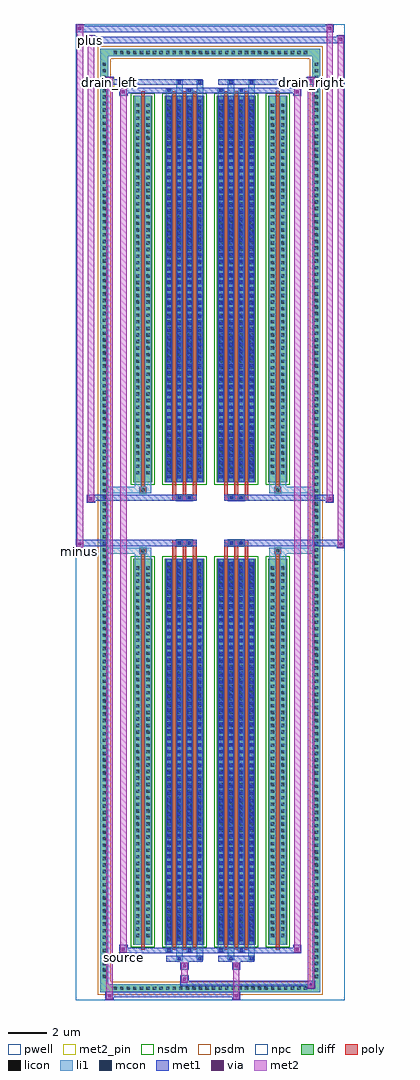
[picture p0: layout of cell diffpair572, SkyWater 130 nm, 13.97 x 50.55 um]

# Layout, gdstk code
import gdstk
lib = gdstk.Library(unit=1e-6, precision=5e-09)
def R(c, l, rs):  # rectangles x0, y0, x1, y1
    for r in rs: c.add(gdstk.rectangle(r[:2], r[2:], *l))
def A(c, l, x, y, w, h, nx, ny, dx, dy):  # array of equal rectangles
    R(c, l, [(x+i*dx, y+j*dy, x+i*dx+w, y+j*dy+h) for i in range(nx) for j in range(ny)])
def P(c, l, *ps):  # polygons
    for p in ps: c.add(gdstk.Polygon(p, *l))
pwell = (64, 44)
diff = (65, 20)
poly = (66, 20)
licon = (66, 44)
li1 = (67, 20)
mcon = (67, 44)
met1 = (68, 20)
via = (68, 44)
met2_pin = (69, 16)
met2 = (69, 20)
nsdm = (93, 44)
psdm = (94, 20)
npc = (95, 20)

diffpair572 = lib.new_cell('diffpair572')
R(diffpair572, pwell, [(-6.97,-24.84,6.97,25.71), (-4.29,-23.03,-0.01,-0.805), (0.01,-23.03,4.29,-0.805), (-4.29,0.805,-0.01,23.03), (0.01,0.805,4.29,23.03)])
A(diffpair572, diff, -5.135, -24.44, 0.41, 0.41, 30, 2, 0.34, 48.47)
A(diffpair572, diff, -5.7, -23.835, 0.41, 0.41, 1, 140, 0, 0.34)
A(diffpair572, diff, 5.29, -23.835, 0.41, 0.41, 1, 140, 0, 0.34)
R(diffpair572, diff, [(-5.135,-24.44,5.135,-24.03), (-5.7,-23.835,-5.29,23.835), (5.29,-23.835,5.7,23.835), (-3.98,-21.985,-3,-1.985), (-2.36,-21.985,-0.32,-1.985), (0.32,-21.985,2.36,-1.985), (3,-21.985,3.98,-1.985), (-3.98,1.985,-3,21.985), (-2.36,1.985,-0.32,21.985), (0.32,1.985,2.36,21.985), (3,1.985,3.98,21.985), (-5.135,24.03,5.135,24.44)])
P(diffpair572, diff, [(5.7,24.44),(-5.7,24.44),(-5.7,-24.03),(-5.29,-24.03),(-5.29,24.03),(5.29,24.03),(5.29,-24.03),(-5.29,-24.03),(-5.7,-24.03),(-5.7,-24.44),(5.7,-24.44)])
A(diffpair572, poly, -1.97, -22.235, 0.2, 20.5, 3, 2, 0.53, 23.97)
A(diffpair572, poly, 0.71, -22.235, 0.2, 20.5, 3, 2, 0.53, 23.97)
A(diffpair572, poly, -1.97, -1.735, 0.2, 0.4, 3, 2, 0.53, 3.07)
A(diffpair572, poly, 0.71, -1.735, 0.2, 0.4, 3, 2, 0.53, 3.07)
R(diffpair572, poly, [(-3.59,-22.235,-3.39,-1.735), (3.39,-22.235,3.59,-1.735), (-3.655,-1.735,-3.325,-1.405), (-3.655,-1.735,-3.325,-1.405), (3.325,-1.735,3.655,-1.405), (3.325,-1.735,3.655,-1.405), (-1.97,-1.335,-0.71,-1.005), (-1.755,-1.335,-1.425,-1.005), (-1.255,-1.335,-0.925,-1.005), (0.71,-1.335,1.97,-1.005), (0.925,-1.335,1.255,-1.005), (1.425,-1.335,1.755,-1.005), (-1.97,1.005,-0.71,1.335), (-1.755,1.005,-1.425,1.335), (-1.255,1.005,-0.925,1.335), (0.71,1.005,1.97,1.335), (0.925,1.005,1.255,1.335), (1.425,1.005,1.755,1.335), (-3.655,1.405,-3.325,1.735), (-3.655,1.405,-3.325,1.735), (3.325,1.405,3.655,1.735), (3.325,1.405,3.655,1.735), (-3.59,1.735,-3.39,22.235), (3.39,1.735,3.59,22.235)])
A(diffpair572, licon, -5.015, -24.32, 0.17, 0.17, 30, 2, 0.34, 48.47)
A(diffpair572, licon, -5.58, -23.715, 0.17, 0.17, 1, 140, 0, 0.34)
A(diffpair572, licon, 5.41, -23.715, 0.17, 0.17, 1, 140, 0, 0.34)
A(diffpair572, licon, -3.84, -21.59, 0.17, 0.17, 1, 57, 0, 0.34)
A(diffpair572, licon, -3.31, -21.59, 0.17, 0.17, 1, 57, 0, 0.34)
A(diffpair572, licon, -2.22, -21.59, 0.17, 0.17, 4, 57, 0.53, 0.34)
A(diffpair572, licon, 0.46, -21.59, 0.17, 0.17, 4, 57, 0.53, 0.34)
A(diffpair572, licon, 3.14, -21.59, 0.17, 0.17, 1, 57, 0, 0.34)
A(diffpair572, licon, 3.67, -21.59, 0.17, 0.17, 1, 57, 0, 0.34)
A(diffpair572, licon, -3.84, 2.38, 0.17, 0.17, 1, 57, 0, 0.34)
A(diffpair572, licon, -3.31, 2.38, 0.17, 0.17, 1, 57, 0, 0.34)
A(diffpair572, licon, -2.22, 2.38, 0.17, 0.17, 4, 57, 0.53, 0.34)
A(diffpair572, licon, 0.46, 2.38, 0.17, 0.17, 4, 57, 0.53, 0.34)
A(diffpair572, licon, 3.14, 2.38, 0.17, 0.17, 1, 57, 0, 0.34)
A(diffpair572, licon, 3.67, 2.38, 0.17, 0.17, 1, 57, 0, 0.34)
R(diffpair572, licon, [(-3.575,-1.655,-3.405,-1.485), (3.405,-1.655,3.575,-1.485), (-1.675,-1.255,-1.505,-1.085), (-1.175,-1.255,-1.005,-1.085), (1.005,-1.255,1.175,-1.085), (1.505,-1.255,1.675,-1.085), (-1.675,1.085,-1.505,1.255), (-1.175,1.085,-1.005,1.255), (1.005,1.085,1.175,1.255), (1.505,1.085,1.675,1.255), (-3.575,1.485,-3.405,1.655), (3.405,1.485,3.575,1.655)])
A(diffpair572, li1, -5.095, -24.4, 0.33, 0.33, 30, 2, 0.34, 48.47)
A(diffpair572, li1, -5.66, -23.795, 0.33, 0.33, 1, 140, 0, 0.34)
A(diffpair572, li1, 5.33, -23.795, 0.33, 0.33, 1, 140, 0, 0.34)
A(diffpair572, li1, -2.3, -21.985, 0.33, 20, 4, 2, 0.53, 23.97)
A(diffpair572, li1, 0.38, -21.985, 0.33, 20, 4, 2, 0.53, 23.97)
A(diffpair572, li1, -2.22, -21.79, 0.17, 0.17, 4, 55, 0.53, 0.36)
A(diffpair572, li1, -2.22, -21.79, 0.17, 19.61, 4, 2, 0.53, 23.97)
A(diffpair572, li1, 0.46, -21.79, 0.17, 0.17, 4, 55, 0.53, 0.36)
A(diffpair572, li1, 0.46, -21.79, 0.17, 19.61, 4, 2, 0.53, 23.97)
A(diffpair572, li1, -3.92, -21.67, 0.33, 0.33, 1, 57, 0, 0.34)
A(diffpair572, li1, -3.39, -21.67, 0.33, 0.33, 1, 57, 0, 0.34)
A(diffpair572, li1, -2.3, -21.67, 0.33, 0.33, 4, 57, 0.53, 0.34)
A(diffpair572, li1, 0.38, -21.67, 0.33, 0.33, 4, 57, 0.53, 0.34)
A(diffpair572, li1, 3.06, -21.67, 0.33, 0.33, 1, 57, 0, 0.34)
A(diffpair572, li1, 3.59, -21.67, 0.33, 0.33, 1, 57, 0, 0.34)
A(diffpair572, li1, -2.22, 2.18, 0.17, 0.17, 4, 55, 0.53, 0.36)
A(diffpair572, li1, 0.46, 2.18, 0.17, 0.17, 4, 55, 0.53, 0.36)
A(diffpair572, li1, -3.92, 2.3, 0.33, 0.33, 1, 57, 0, 0.34)
A(diffpair572, li1, -3.39, 2.3, 0.33, 0.33, 1, 57, 0, 0.34)
A(diffpair572, li1, -2.3, 2.3, 0.33, 0.33, 4, 57, 0.53, 0.34)
A(diffpair572, li1, 0.38, 2.3, 0.33, 0.33, 4, 57, 0.53, 0.34)
A(diffpair572, li1, 3.06, 2.3, 0.33, 0.33, 1, 57, 0, 0.34)
A(diffpair572, li1, 3.59, 2.3, 0.33, 0.33, 1, 57, 0, 0.34)
R(diffpair572, li1, [(-5.7,-24.44,-5.29,-24.03), (-5.7,-24.44,-5.29,-24.03), (-5.29,-24.44,5.29,-24.03), (5.29,-24.44,5.7,-24.03), (5.29,-24.44,5.7,-24.03), (-5.7,-24.03,-5.29,24.03), (5.29,-24.03,5.7,24.03), (-1.77,-22.79,-1.44,-21.985), (-1.69,-22.79,-1.52,-22.62), (-0.71,-22.79,-0.38,-21.985), (-0.63,-22.79,-0.46,-22.62), (0.91,-22.79,1.24,-21.985), (0.99,-22.79,1.16,-22.62), (1.97,-22.79,2.3,-21.985), (2.05,-22.79,2.22,-22.62), (-2.3,-22.36,-1.97,-21.985), (-2.22,-22.36,-2.05,-22.19), (-1.24,-22.36,-0.91,-21.985), (-1.16,-22.36,-0.99,-22.19), (0.38,-22.36,0.71,-21.985), (0.46,-22.36,0.63,-22.19), (1.44,-22.36,1.77,-21.985), (1.52,-22.36,1.69,-22.19), (-3.92,-21.985,-3.59,-1.985), (-3.39,-21.985,-3.06,-1.985), (3.06,-21.985,3.39,-1.985), (3.59,-21.985,3.92,-1.985), (-3.92,-1.985,-3.59,-1.405), (-3.39,-1.985,-3.06,-1.405), (3.06,-1.985,3.39,-1.405), (3.59,-1.985,3.92,-1.405), (-5.7,-1.735,-3.655,-1.405), (-3.92,-1.735,-3.655,-1.405), (-3.655,-1.735,-3.325,-1.405), (-3.325,-1.735,-3.06,-1.405), (3.06,-1.735,3.325,-1.405), (3.325,-1.735,3.655,-1.405), (3.325,-1.735,5.7,-1.405), (3.655,-1.735,3.92,-1.405), (-1.755,-1.335,-1.425,-1.005), (-1.255,-1.335,-0.925,-1.005), (0.925,-1.335,1.255,-1.005), (1.425,-1.335,1.755,-1.005), (-1.755,1.005,-1.425,1.335), (-1.255,1.005,-0.925,1.335), (0.925,1.005,1.255,1.335), (1.425,1.005,1.755,1.335), (-5.7,1.405,-3.655,1.735), (-3.92,1.405,-3.655,1.735), (-3.92,1.405,-3.59,1.985), (-3.655,1.405,-3.325,1.735), (-3.39,1.405,-3.06,1.985), (-3.325,1.405,-3.06,1.735), (3.06,1.405,3.325,1.735), (3.06,1.405,3.39,1.985), (3.325,1.405,3.655,1.735), (3.325,1.405,5.7,1.735), (3.59,1.405,3.92,1.985), (3.655,1.405,3.92,1.735), (-3.92,1.985,-3.59,21.985), (-3.39,1.985,-3.06,21.985), (3.06,1.985,3.39,21.985), (3.59,1.985,3.92,21.985), (-2.3,21.985,-1.97,22.36), (-1.77,21.985,-1.44,22.79), (-1.24,21.985,-0.91,22.36), (-0.71,21.985,-0.38,22.79), (0.38,21.985,0.71,22.36), (0.91,21.985,1.24,22.79), (1.44,21.985,1.77,22.36), (1.97,21.985,2.3,22.79), (-2.22,22.19,-2.05,22.36), (-1.16,22.19,-0.99,22.36), (0.46,22.19,0.63,22.36), (1.52,22.19,1.69,22.36), (-1.69,22.62,-1.52,22.79), (-0.63,22.62,-0.46,22.79), (0.99,22.62,1.16,22.79), (2.05,22.62,2.22,22.79), (-5.7,24.03,-5.29,24.44), (-5.7,24.03,-5.29,24.44), (-5.29,24.03,5.29,24.44), (5.29,24.03,5.7,24.44), (5.29,24.03,5.7,24.44)])
A(diffpair572, mcon, -2.22, -21.79, 0.17, 0.17, 4, 55, 0.53, 0.36)
A(diffpair572, mcon, 0.46, -21.79, 0.17, 0.17, 4, 55, 0.53, 0.36)
A(diffpair572, mcon, -2.22, 2.18, 0.17, 0.17, 4, 55, 0.53, 0.36)
A(diffpair572, mcon, 0.46, 2.18, 0.17, 0.17, 4, 55, 0.53, 0.36)
R(diffpair572, mcon, [(-1.69,-22.79,-1.52,-22.62), (-0.63,-22.79,-0.46,-22.62), (0.99,-22.79,1.16,-22.62), (2.05,-22.79,2.22,-22.62), (-2.22,-22.36,-2.05,-22.19), (-1.16,-22.36,-0.99,-22.19), (0.46,-22.36,0.63,-22.19), (1.52,-22.36,1.69,-22.19), (-1.675,-1.255,-1.505,-1.085), (-1.175,-1.255,-1.005,-1.085), (1.005,-1.255,1.175,-1.085), (1.505,-1.255,1.675,-1.085), (-1.675,1.085,-1.505,1.255), (-1.175,1.085,-1.005,1.255), (1.005,1.085,1.175,1.255), (1.505,1.085,1.675,1.255), (-2.22,22.19,-2.05,22.36), (-1.16,22.19,-0.99,22.36), (0.46,22.19,0.63,22.36), (1.52,22.19,1.69,22.36), (-1.69,22.62,-1.52,22.79), (-0.63,22.62,-0.46,22.79), (0.99,22.62,1.16,22.79), (2.05,22.62,2.22,22.79)])
A(diffpair572, met1, -2.28, -21.985, 0.29, 20, 4, 2, 0.53, 23.97)
A(diffpair572, met1, 0.4, -21.985, 0.29, 20, 4, 2, 0.53, 23.97)
A(diffpair572, met1, -2.28, -21.85, 0.29, 0.29, 4, 55, 0.53, 0.36)
A(diffpair572, met1, 0.4, -21.85, 0.29, 0.29, 4, 55, 0.53, 0.36)
A(diffpair572, met1, -2.28, 2.12, 0.29, 0.29, 4, 55, 0.53, 0.36)
A(diffpair572, met1, 0.4, 2.12, 0.29, 0.29, 4, 55, 0.53, 0.36)
R(diffpair572, met1, [(-5.43,-24.84,-5,-24.41), (1.125,-24.84,1.555,-24.41), (-5.43,-24.7,1.555,-24.41), (5,-24.27,5.43,-23.84), (-1.555,-24.13,5.43,-23.84), (-1.555,-23.99,-1.125,-23.56), (-1.555,-23.28,-1.125,-22.85), (1.125,-23.28,1.555,-22.85), (-2.28,-22.85,-0.4,-22.56), (-1.75,-22.85,-1.46,-22.56), (-0.69,-22.85,-0.4,-22.56), (0.4,-22.85,2.28,-22.56), (0.93,-22.85,1.22,-22.56), (1.99,-22.85,2.28,-22.56), (-4.72,-22.42,-4.29,-21.99), (-4.72,-22.42,-2.28,-22.13), (-2.28,-22.42,-1.99,-22.13), (-2.28,-22.42,-0.4,-22.13), (-1.22,-22.42,-0.93,-22.13), (-0.4,-22.42,0.4,-22.13), (0.4,-22.42,0.69,-22.13), (0.4,-22.42,2.28,-22.13), (1.46,-22.42,1.75,-22.13), (2.28,-22.42,4.72,-22.13), (4.29,-22.42,4.72,-21.99), (-6.97,-1.435,-6.54,-1.005), (6.54,-1.435,6.97,-1.005), (-6.97,-1.335,-0.71,-1.005), (-1.97,-1.335,-0.71,-1.005), (0.71,-1.335,1.97,-1.005), (0.71,-1.335,6.97,-1.005), (-1.735,-1.315,-1.445,-1.025), (-1.235,-1.315,-0.945,-1.025), (0.945,-1.315,1.235,-1.025), (1.445,-1.315,1.735,-1.025), (-6.4,0.905,-5.97,1.335), (5.97,0.905,6.4,1.335), (-6.4,1.005,-1.97,1.335), (-1.97,1.005,-0.71,1.335), (0.71,1.005,1.97,1.335), (1.97,1.005,6.4,1.335), (-1.735,1.025,-1.445,1.315), (-1.235,1.025,-0.945,1.315), (0.945,1.025,1.235,1.315), (1.445,1.025,1.735,1.315), (-4.72,21.99,-4.29,22.42), (4.29,21.99,4.72,22.42), (-4.72,22.13,-2.28,22.42), (-2.28,22.13,-1.99,22.42), (-2.28,22.13,-0.4,22.42), (-1.22,22.13,-0.93,22.42), (-0.4,22.13,0.4,22.42), (0.4,22.13,0.69,22.42), (0.4,22.13,2.28,22.42), (1.46,22.13,1.75,22.42), (2.28,22.13,4.72,22.42), (-5.43,22.56,-5,22.99), (-5.43,22.56,-2.28,22.85), (-2.28,22.56,-0.4,22.85), (-1.75,22.56,-1.46,22.85), (-0.69,22.56,-0.4,22.85), (0.4,22.56,2.28,22.85), (0.93,22.56,1.22,22.85), (1.99,22.56,2.28,22.85), (2.28,22.56,5.43,22.85), (5,22.56,5.43,22.99), (-6.4,24.71,-5.97,25.14), (-6.4,24.71,-4.29,25.04), (-4.29,24.71,4.29,25.04), (4.29,24.71,6.97,25.04), (6.54,24.71,6.97,25.14), (-6.97,25.28,-6.54,25.71), (-6.97,25.28,-4.29,25.61), (-4.29,25.28,4.29,25.61), (4.29,25.28,6.4,25.61), (5.97,25.28,6.4,25.71)])
R(diffpair572, via, [(-5.29,-24.7,-5.14,-24.55), (1.265,-24.7,1.415,-24.55), (5.14,-24.13,5.29,-23.98), (-1.415,-23.85,-1.265,-23.7), (-1.415,-23.14,-1.265,-22.99), (1.265,-23.14,1.415,-22.99), (-4.58,-22.28,-4.43,-22.13), (4.43,-22.28,4.58,-22.13), (-6.83,-1.295,-6.68,-1.145), (6.68,-1.295,6.83,-1.145), (-6.26,1.045,-6.11,1.195), (6.11,1.045,6.26,1.195), (-4.58,22.13,-4.43,22.28), (4.43,22.13,4.58,22.28), (-5.29,22.7,-5.14,22.85), (5.14,22.7,5.29,22.85), (-6.26,24.85,-6.11,25), (6.68,24.85,6.83,25), (-6.83,25.42,-6.68,25.57), (6.11,25.42,6.26,25.57)])
R(diffpair572, met2_pin, [(-4.755,-22.87,-4.255,-22.37), (-7.005,-1.885,-6.505,-1.385), (-5.465,22.44,-4.965,22.94), (4.965,22.44,5.465,22.94), (-6.435,24.59,-5.935,25.09)])
R(diffpair572, met2, [(-5.38,-24.79,-5.05,-24.46), (-5.38,-24.79,-5.05,22.94), (1.175,-24.79,1.505,-24.46), (1.175,-24.46,1.505,-23.23), (5.05,-24.22,5.38,-23.89), (5.05,-24.22,5.38,22.94), (-1.505,-23.94,-1.175,-23.61), (-1.505,-23.61,-1.175,-23.23), (-1.505,-23.23,-1.175,-22.9), (1.175,-23.23,1.505,-22.9), (-4.67,-22.37,-4.34,-22.04), (-4.67,-22.37,-4.34,22.37), (4.34,-22.37,4.67,-22.04), (4.34,-22.37,4.67,22.37), (-6.92,-1.385,-6.59,-1.055), (-6.92,-1.385,-6.59,25.66), (6.59,-1.385,6.92,-1.055), (6.59,-1.385,6.92,25.09), (-6.35,0.955,-6.02,1.285), (-6.35,0.955,-6.02,25.09), (6.02,0.955,6.35,1.285), (6.02,0.955,6.35,25.66), (-4.67,22.04,-4.34,22.37), (4.34,22.04,4.67,22.37), (-5.38,22.61,-5.05,22.94), (5.05,22.61,5.38,22.94), (-6.35,24.76,-6.02,25.09), (6.59,24.76,6.92,25.09), (-6.92,25.33,-6.59,25.66), (6.02,25.33,6.35,25.66)])
P(diffpair572, met2, [(6.92,-1.385),(6.92,-1.385),(6.92,-1.055),(6.92,-1.055)],
  [(6.92,24.76),(6.92,24.76),(6.92,25.09),(6.92,25.09)],
  [(-6.59,-1.385),(-6.59,-1.385),(-6.59,-1.055),(-6.59,-1.055)],
  [(-6.59,25.33),(-6.59,25.33),(-6.59,25.66),(-6.59,25.66)],
  [(6.35,0.955),(6.35,0.955),(6.35,1.285),(6.35,1.285)],
  [(6.35,25.33),(6.35,25.33),(6.35,25.66),(6.35,25.66)],
  [(-6.02,0.955),(-6.02,0.955),(-6.02,1.285),(-6.02,1.285)],
  [(-6.02,24.76),(-6.02,24.76),(-6.02,25.09),(-6.02,25.09)],
  [(-5.05,-24.79),(-5.05,-24.79),(-5.05,-24.46),(-5.05,-24.46)],
  [(-5.05,22.61),(-5.05,22.61),(-5.05,22.94),(-5.05,22.94)],
  [(5.38,-24.22),(5.38,-24.22),(5.38,-23.89),(5.38,-23.89)],
  [(5.38,22.61),(5.38,22.61),(5.38,22.94),(5.38,22.94)],
  [(-4.34,-22.37),(-4.34,-22.37),(-4.34,-22.04),(-4.34,-22.04)],
  [(-4.34,22.04),(-4.34,22.04),(-4.34,22.37),(-4.34,22.37)],
  [(4.67,-22.37),(4.67,-22.37),(4.67,-22.04),(4.67,-22.04)],
  [(4.67,22.04),(4.67,22.04),(4.67,22.37),(4.67,22.37)])
R(diffpair572, nsdm, [(-4.11,-22.115,-2.87,-1.855), (-2.49,-22.115,-0.19,-1.855), (0.19,-22.115,2.49,-1.855), (2.87,-22.115,4.11,-1.855), (-4.11,1.855,-2.87,22.115), (-2.49,1.855,-0.19,22.115), (0.19,1.855,2.49,22.115), (2.87,1.855,4.11,22.115)])
P(diffpair572, psdm, [(5.83,24.57),(-5.83,24.57),(-5.83,-23.9),(-5.16,-23.9),(-5.16,23.9),(5.16,23.9),(5.16,-23.9),(-5.16,-23.9),(-5.83,-23.9),(-5.83,-24.57),(5.83,-24.57)])
R(diffpair572, npc, [(-3.675,-1.755,-3.305,-1.385), (3.305,-1.755,3.675,-1.385), (-1.775,-1.355,-1.405,-0.985), (-1.775,-1.355,-0.905,-0.985), (-1.775,-1.355,-0.905,-0.985), (-1.275,-1.355,-0.905,-0.985), (0.905,-1.355,1.275,-0.985), (0.905,-1.355,1.775,-0.985), (0.905,-1.355,1.775,-0.985), (1.405,-1.355,1.775,-0.985), (-1.775,0.985,-1.405,1.355), (-1.775,0.985,-0.905,1.355), (-1.775,0.985,-0.905,1.355), (-1.275,0.985,-0.905,1.355), (0.905,0.985,1.275,1.355), (0.905,0.985,1.775,1.355), (0.905,0.985,1.775,1.355), (1.405,0.985,1.775,1.355), (-3.675,1.385,-3.305,1.755), (3.305,1.385,3.675,1.755)])
diffpair572.add(gdstk.Label('minus', (-6.755,-1.635), layer=69, texttype=5))
diffpair572.add(gdstk.Label('drain_right', (5.215,22.69), layer=69, texttype=5))
diffpair572.add(gdstk.Label('drain_left', (-5.215,22.69), layer=69, texttype=5))
diffpair572.add(gdstk.Label('source', (-4.505,-22.62), layer=69, texttype=5))
diffpair572.add(gdstk.Label('plus', (-6.185,24.84), layer=69, texttype=5))

lib.write_gds('diffpair572.gds')
